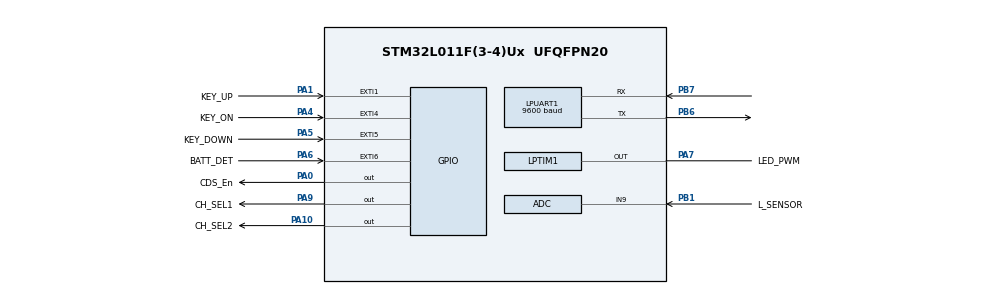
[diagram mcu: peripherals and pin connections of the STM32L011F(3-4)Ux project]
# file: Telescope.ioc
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ADC.ClockPrescaler=ADC_CLOCK_SYNC_PCLK_DIV4
ADC.ContinuousConvMode=DISABLE
ADC.DiscontinuousConvMode=ENABLE
ADC.LowPowerAutoPowerOff=DISABLE
ADC.LowPowerAutoWait=DISABLE
ADC.LowPowerFrequencyMode=DISABLE
ADC.Resolution=ADC_RESOLUTION_12B
ADC.SamplingTime=ADC_SAMPLETIME_160CYCLES_5
LPTIM1.ClockPrescaler=LPTIM_PRESCALER_DIV1
LPUART1.BaudRate=9600
LPUART1.DMADisableonRxErrorParam=UART_ADVFEATURE_DMA_ENABLEONRXERROR
LPUART1.OneBitSampling=UART_ONE_BIT_SAMPLE_ENABLE
LPUART1.OverrunDisableParam=UART_ADVFEATURE_OVERRUN_ENABLE
LPUART1.WordLength=UART_WORDLENGTH_8B
Mcu.Family=STM32L0
Mcu.Name=STM32L011F(3-4)Ux
Mcu.Package=UFQFPN20
NVIC.ADC1_COMP_IRQn=true\:0\:0\:false\:false\:true\:true\:true\:true
NVIC.EXTI0_1_IRQn=true\:3\:0\:true\:false\:true\:true\:true\:true
NVIC.EXTI4_15_IRQn=true\:3\:0\:true\:false\:true\:true\:true\:true
NVIC.LPUART1_IRQn=true\:2\:0\:true\:false\:true\:true\:true\:true
PA0-CK_IN.GPIO_Label=CDS_En
PA0-CK_IN.GPIO_PuPd=GPIO_NOPULL
PA0-CK_IN.Signal=GPIO_Output
PA1.GPIO_Label=KEY_UP
PA1.GPIO_ModeDefaultEXTI=GPIO_MODE_IT_FALLING
PA1.GPIO_PuPd=GPIO_PULLUP
PA1.Signal=GPXTI1
PA10.GPIO_Label=CH_SEL2
PA10.GPIO_ModeDefaultOutputPP=GPIO_MODE_OUTPUT_PP
PA10.GPIO_PuPd=GPIO_NOPULL
PA10.Signal=GPIO_Output
PA13.Mode=Serial_Wire
PA13.Signal=SYS_SWDIO
PA14.Mode=Serial_Wire
PA14.Signal=SYS_SWCLK
PA4.GPIO_Label=KEY_ON
PA4.GPIO_ModeDefaultEXTI=GPIO_MODE_IT_FALLING
PA4.GPIO_PuPd=GPIO_PULLUP
PA4.Signal=GPXTI4
PA5.GPIO_Label=KEY_DOWN
PA5.GPIO_ModeDefaultEXTI=GPIO_MODE_IT_FALLING
PA5.GPIO_PuPd=GPIO_PULLUP
PA5.Signal=GPXTI5
PA6.GPIO_Label=BATT_DET
PA6.GPIO_ModeDefaultEXTI=GPIO_MODE_IT_FALLING
PA6.GPIO_PuPd=GPIO_PULLUP
PA6.Signal=GPXTI6
PA7.GPIO_Label=LED_PWM
PA7.Mode=WaveformGeneration
PA7.Signal=LPTIM1_OUT
PA9.GPIO_Label=CH_SEL1
PA9.GPIO_ModeDefaultOutputPP=GPIO_MODE_OUTPUT_PP
PA9.GPIO_PuPd=GPIO_NOPULL
PA9.Signal=GPIO_Output
PB1.GPIO_Label=L_SENSOR
PB1.Mode=IN9
PB1.Signal=ADC_IN9
PB6.GPIO_PuPd=GPIO_PULLUP
PB6.Mode=Asynchronous
PB6.Signal=LPUART1_TX
PB7.GPIO_PuPd=GPIO_PULLUP
PB7.Mode=Asynchronous
PB7.Signal=LPUART1_RX
ProjectManager.HeapSize=0x200
ProjectManager.StackSize=0x400
ProjectManager.TargetToolchain=STM32CubeIDE
RCC.ADCFreq_Value=16000000
RCC.AHBFreq_Value=16000000
RCC.APB1Freq_Value=16000000
RCC.APB1TimFreq_Value=16000000
RCC.APB2Freq_Value=16000000
RCC.APB2TimFreq_Value=16000000
RCC.HCLKFreq_Value=16000000
RCC.HSE_VALUE=8000000
RCC.HSI16_VALUE=16000000
RCC.HSI_VALUE=16000000
RCC.LSE_VALUE=32768
RCC.LptimClockSelection=RCC_LPTIM1CLKSOURCE_LSI
RCC.Lpuart1ClockSelection=RCC_LPUART1CLKSOURCE_HSI
RCC.MSIClockRange=RCC_MSIRANGE_4
RCC.MSI_VALUE=1048000
RCC.PLLMUL=RCC_PLLMUL_4
RCC.SYSCLKFreq_VALUE=16000000
RCC.SYSCLKSource=RCC_SYSCLKSOURCE_HSI
RCC.VCOOutputFreq_Value=64000000
VP_LPTIM1_VS_LPTIM_counterModeInternalClock.Mode=Counts__internal_clock_event_00
board=custom

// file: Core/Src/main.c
/* USER CODE BEGIN Header */
/**
 ******************************************************************************
 * @file           : main.c
 * @brief          : Main program body
 ******************************************************************************
 * @attention
 *
 * Copyright (c) 2022 STMicroelectronics.
 * All rights reserved.
 *
 * This software is licensed under terms that can be found in the LICENSE file
 * in the root directory of this software component.
 * If no LICENSE file comes with this software, it is provided AS-IS.
 *
 ******************************************************************************
 */
/* USER CODE END Header */
#include "main.h"

/* USER CODE BEGIN Includes */
#include <string.h>
#include <stdbool.h>
#include "EEPROM.h"
#include "time.h"
#include "usart.h"
#include "errno.h"
#include "adc.h"
#include "usart.h"
/* USER CODE END Includes */

/* USER CODE BEGIN PD */
#define PERIOD 616
#define TWO_BUTTON

#define KEY_FUNC_DELAY	200
#define KEY_ADC_DELAY	KEY_FUNC_DELAY
//#define CalDuty( x )	( (PERIOD+1) - ( ( (PERIOD+1) * x ) * 0.01f) )
#define Default_LED	8
//#define LEVEL1	247
//#define LEVEL2	242
//#define LEVEL3	234
//#define LEVEL4	226
//#define LEVEL5	222
//#define LEVEL6	211
//#define LEVEL7	195
//#define LEVEL8	187
//#define LEVEL9	176
//#define LEVEL10	165
//#define LEVEL11	155
//#define LEVEL12	135
//
//#define PERIOD	616//617-1
//#define BOUNCE_CNT	10
//#define MAX_LEVEL			12
/* USER CODE END PD */

LPTIM_HandleTypeDef hlptim1;

/* USER CODE BEGIN PV */
uint16_t timeout;
volatile uint32_t last_time;
//volatile uint16_t error;

char CommandBuffer[64];
char IntBuffer[8];
char ByteBuffer[16];
//uint8_t flag_uart_on=0;

uint8_t flag_3_repeat = 0;
bool flag_led_on_off = 0;
bool flag_stop_mode = 1;
bool flag_change_mode = 0;
__IO uint8_t flag_led_mode = 1;
bool flag_power_on = 1;
bool flag_low_batt = 0;

bool LuxOut = 0;

uint8_t  key_pos = Default_LED;
uint8_t  temp_key_pos = 0;
bool  key_done = 1;
__IO uint16_t key_pressed = 0;
__IO uint16_t key_adc_pressed = 0;
__IO uint16_t count_1s = 0;
__IO uint16_t count_500ms = 0;

//uint8_t LuxMode = 0;
//uint8_t OnLux = 0;
bool SetLuxMode = 0;

//const char *ModelName = "CircleDot Rev 0.00";

/* USER CODE END PV */

void SystemClock_Config(void);
static void MX_GPIO_Init(void);
static void MX_LPTIM1_Init(void);
static void MX_LPUART1_UART_Init(void);
static void MX_ADC_Init(void);
/* USER CODE BEGIN PFP */
//unsigned char d=0; //ring buffer
//uint8_t lpuart1Idle = 0; //idle flag
//uint8_t txData; // byte to send
/* USER CODE END PFP */

/* USER CODE BEGIN 0 */
int ParsingData(char *buffer, char sep, int pos, char *result)
{
	int i, c;
	int n = 0;
	char found = 0;

	c = 0;
	for(i = 0; i < strlen(buffer); i++) {
		if(buffer[i] == sep) {
			if(pos == c++) {
				ByteBuffer[n] = 0;
				found = 1;
				break;
			}
			n = 0;
		}
		else ByteBuffer[n++] = buffer[i];
	}
	if(pos == c) found = 1;
	ByteBuffer[n] = 0;

	if(found) memcpy(result, ByteBuffer, n + 1);
	else {
		result[0] = 0;
		n = 0;
	}
	return(n);
}

int StringToInt(char *buffer)
{
	int ret = 0;
	int i, len, rt;

	for(i = 0; i < strlen(buffer); i++) {
		if(buffer[i] < '0' || buffer[i] > '9') break;
	}
	len = i;

	rt = 1;
	for(i = 0; i < len; i++) {
		ret += rt * (buffer[(len - 1) - i] - '0');
		rt *= 10;
	}
	return(ret);
}

char *IntToString(int data)
{
	int i, len, rt;

	memset(ByteBuffer, 0, sizeof(ByteBuffer));
	len = 0;
	rt = data;
	while(1) {
		len++;
		rt /= 10;
		if(rt <= 0) break;
	}

	rt = data;
	for(i = len - 1; i >= 0; i--) {
		rt = data % 10;
		ByteBuffer[i] = rt + '0';
		data /= 10;
	}

	return(ByteBuffer);
}

void Protocol(char *cmd)
{
	uint8_t i;

	ParsingData(cmd, ',', 0, CommandBuffer);
//	if(strcmp(CommandBuffer, "*IDN?") == 0) {
//		PrintUART(ModelName);
////		HAL_Delay(10);
//		PrintUART("\r\n");
//	}
//	else
		if(strcmp(CommandBuffer, ":READLEVEL") == 0) {
		PrintUART(":LEVEL");
		for(i = 0; i < MAX_LEVEL; i++) {
			IntToString(LedLight[i]);
			PrintUART(",");
			PrintUART(ByteBuffer);
			HAL_Delay(10);
		}

		PrintUART("\r\n");
	}
	else if(strcmp(CommandBuffer, ":READLUX") == 0) {
		PrintUART(":LUX");
		for(i = 0; i < MAX_LEVEL; i++) {
			IntToString(CDSLight[i]);
			PrintUART(",");
			PrintUART(ByteBuffer);
			HAL_Delay(10);
		}

		PrintUART("\r\n");
	}
	else if(strcmp(CommandBuffer, ":WRITELEVEL") == 0) {
		for(i = 0; i < MAX_LEVEL; i++) {
			ParsingData(cmd, ',', i + 1, CommandBuffer);
			LedLight[i] = StringToInt(CommandBuffer);
			//duty ratio transformation
		}

		WriteSystemConfig(LED_LIGHT);
		//SaveBuffer_EEPROM(DATA_EEPROM_START_ADDR + 0x40, (uint32_t *)&Settings, sizeof(Settings));
		HAL_Delay(100);
		PrintUART(":ACK,LEVEL\r\n");
		HAL_Delay(100);
	}
	else if(strcmp(CommandBuffer, ":WRITELUX") == 0) {
		for(i = 0; i < MAX_LEVEL; i++) {
			ParsingData(cmd, ',', i + 1, CommandBuffer);
			CDSLight[i] = StringToInt(CommandBuffer);
		}

		WriteSystemConfig(CDS_LIGHT);
		HAL_Delay(100);
		PrintUART(":ACK,LUX\r\n");
		HAL_Delay(100);
	}
	else if(strcmp(CommandBuffer, ":LUXON") == 0) {
//		SetLuxMode = 1;
		LuxOut = 1;
	}
	else if(strcmp(CommandBuffer, ":LUXOFF") == 0) {
//		SetLuxMode = 0;
		LuxOut = 0;
	}
}

void SleepMode(void)
{
	/* Set LED1 */
//	HAL_GPIO_WritePin(GPIOD, GPIO_PIN_12|GPIO_PIN_13|GPIO_PIN_14|GPIO_PIN_15, GPIO_PIN_RESET);
//	HAL_GPIO_WritePin(GPIOD, GPIO_PIN_12, GPIO_PIN_SET);

	/* Suspend SysTick */
	HAL_SuspendTick();

	/* Enable Power Peripheral */
	__HAL_RCC_PWR_CLK_ENABLE();

	/* Sleep Mode */
	HAL_PWR_EnterSLEEPMode(PWR_LOWPOWERREGULATOR_ON, PWR_STOPENTRY_WFE);//PWR_MAINREGULATOR_ON

	/* Resume SysTick When System Wake-up */
	HAL_ResumeTick();

	/* PLL Clock Recovery */
	SystemClock_Config();
}

void StopMode(void)
{
	/* Suspend Tick increment to prevent wakeup by Systick interrupt.
     Otherwise the Systick interrupt will wake up the device within 1ms (HAL time base) */
	HAL_SuspendTick();

	/* We enable again the PWR peripheral */
	__HAL_RCC_PWR_CLK_ENABLE();

	/* Request to enter SLEEP mode */
	HAL_PWR_EnterSTOPMode(PWR_LOWPOWERREGULATOR_ON, PWR_STOPENTRY_WFE);

	//  SystemClock_Config_low();

	/* Resume Tick interrupt if disabled prior to sleep mode entry*/
	HAL_ResumeTick();

	/* PLL Clock Recovery */
	SystemClock_Config();
}

void HAL_GPIO_EXTI_Callback(uint16_t GPIO_Pin)
{
	key_done = 0;
	if(GPIO_Pin == KEY_UP_Pin)
	{
		//POWER ON
		if( (!flag_power_on) && (!flag_stop_mode) )
		{
			key_pos = Default_LED;
//			flag_stop_mode = 1;
		}
		//Brightness up
		else
		{
			key_pos++;
//			flag_stop_mode = 0;
		}
	}
#ifndef TWO_BUTTON
	else if(GPIO_Pin == KEY_ON_Pin)
	{
		//POWER ON
		if( (!flag_power_on) && (!flag_stop_mode) )
		{
			key_pos = Default_LED;
//			flag_stop_mode = 1;
		}
		else
		{
			flag_change_mode = 1;
		}
//		{
//			//MODE change dot, circle, cross
//			flag_led_mode++;
//			if(flag_led_mode > 3) flag_led_mode = 1;
//
//			flag_stop_mode = 0;
//		}
	}
#endif
	else if(GPIO_Pin == KEY_DOWN_Pin)
	{
		//POWER ON
		if( (!flag_power_on) && (!flag_stop_mode) )
		{
			key_pos = Default_LED;
//			flag_stop_mode = 1;
		}
		//Brightness down
		else
		{
			key_pos--;
//			flag_stop_mode = 0;
		}
	}
//	flag_stop_mode = 1;
	//POWER off
	if(!flag_power_on)
	{
		if(!HAL_GPIO_ReadPin(BATT_DET_GPIO_Port, BATT_DET_Pin))
		{
			flag_low_batt = 1;
			flag_stop_mode = 0;
		}
	}
	//	else if(GPIO_Pin == BATT_DET_Pin)
	//	{
	//		flag_low_batt = 1;
	//	}

	if (key_pos < 1) key_pos = 1;
	else if( key_pos == 255) key_pos = 1;
	else if (key_pos > 12) key_pos = 12;

	flag_power_on = 1;
}

/* USER CODE END 0 */

int main(void)
{
  /* USER CODE BEGIN 1 */
	int i = 0;
	uint8_t level;
	uint16_t cds = 0;

  /* USER CODE END 1 */

  /* MCU Configuration--------------------------------------------------------*/

  /* Reset of all peripherals, Initializes the Flash interface and the Systick. */
  HAL_Init();

  /* USER CODE BEGIN Init */
  MX_LPTIM1_Init();
	/* Init Timer */
  time_setup();
  /* USER CODE END Init */

  /* Configure the system clock */
  SystemClock_Config();

  /* Initialize all configured peripherals */
  MX_GPIO_Init();
  MX_LPUART1_UART_Init();
  MX_ADC_Init();
  /* USER CODE BEGIN 2 */

  ReadSystemConfig();

//  TEST CODE
//  ReadBuffer_EEPROM(DATA_EEPROM_START_ADDR + 0x40, (uint32_t *)&Settings.brightness_dot, sizeof(Settings.brightness_dot));
  //  LedLight[0] = 308;
  //  LedLight[1] = 290;
  //  LedLight[2] = 271;
  //  LedLight[3] = 253;
  //  LedLight[4] = 241;
  //  LedLight[5] = 216;
  //  LedLight[6] = 197;
  //  LedLight[7] = 148;
  //  LedLight[8] = 136;
  //  LedLight[9] = 123;
  //  LedLight[10] = 111;
  //  LedLight[11] = 99;
//  WriteSystemConfig(LED_LIGHT);

  //EEPROM?�� ?��?��?���? ?��?���? ?��?��?�� 값으�? 처기?�� ?��?��
  for(i = 0; i < 12; i++)
  {
	  if( ( LedLight[i] == 0x0 ) || ( LedLight[i] == 0xFFFFFFFF ) )
	  {
		  LedLight[i] = 123;
	  }

	  if( ( CDSLight[i] == 0x0 ) || ( CDSLight[i] == 0xFFFFFFFF ) )
	  {
		  CDSLight[i] = 800;
	  }
  }
  /* USER CODE END 2 */

  /* Infinite loop */
  /* USER CODE BEGIN WHILE */
	while (1)
	{
		// 조도모드 ?�� ?�� ?��?��처리�? �??��?��, ?��?��받�? ?��로토콜을 처리
		if(isReadyByte() && SetLuxMode)
		{
			Protocol((char *)GetUART());
		}

		// key up / down ?���? 조도 모드�? 진입�??��, 조도?�� ?��?�� 밝기 �??��
		if(SetLuxMode)
		{
			level = MAX_LEVEL;
			cds = GetADC(0);
			if(CDSLight[0] >= cds) level = 0;
			else {
				for(i = 1; i < MAX_LEVEL; i++) {
					if(CDSLight[i - 1] < cds && CDSLight[i] >= cds) {
						level = i;
						break;
					}
				}
			}

			if(level == MAX_LEVEL) level = MAX_LEVEL - 1;

			LedLevel = level;
//			WriteSystemConfig(LED_LEVEL);

			HAL_LPTIM_PWM_Start(&hlptim1, PERIOD, LedLight[LedLevel]);
			//
			switch(flag_led_mode)
			{
			case 1 :
				HAL_GPIO_WritePin(CH_SEL1_GPIO_Port, CH_SEL1_Pin, RESET);
				HAL_GPIO_WritePin(CH_SEL2_GPIO_Port, CH_SEL2_Pin, RESET);
				break;
			case 2 :
				HAL_GPIO_WritePin(CH_SEL1_GPIO_Port, CH_SEL1_Pin, RESET);
				HAL_GPIO_WritePin(CH_SEL2_GPIO_Port, CH_SEL2_Pin, SET);
				break;
			case 3 :
				HAL_GPIO_WritePin(CH_SEL1_GPIO_Port, CH_SEL1_Pin, SET);
				HAL_GPIO_WritePin(CH_SEL2_GPIO_Port, CH_SEL2_Pin, SET);
				break;
			default : break;
			}

			flag_stop_mode = 0;
		}

		// ???��?�� 모드
		if(flag_power_on)
		{
			if(flag_stop_mode)
			{
				HAL_LPTIM_PWM_Start(&hlptim1, PERIOD, LedLight[key_pos-1]);

				flag_stop_mode = 0;

				StopMode();
			}
		}
    /* USER CODE END WHILE */

    /* USER CODE BEGIN 3 */
		/* Every 10ms */
		if ( (time_ms() - last_time) > 10-1 ) //10mS
		{
			//조도 모드?�� ?�� 250mS 마다 조도 값을 ?��?��
			if(count_500ms > 25) //100mS
			{
				if(LuxOut) {
					PrintUART(":CDS,");
					IntToString(cds);
					PrintUART(ByteBuffer);
					PrintUART("\r\n");
					//				LuxOut = 0;
				}
				count_500ms = 0;
			}

			//배터리�? ?��?�� ?�� 1�? 주기�? LED�? 3�? ?��멸한?��
			if( (flag_power_on) && (flag_low_batt) && (count_1s > 100-1) )
			{
				if(flag_3_repeat > 5)
				{
					flag_3_repeat = 0;
					flag_led_on_off = 0;

					flag_low_batt = 0;
					count_1s = 0;

					goto sub_led_proc;
				}
				else
				{

					flag_3_repeat++;
					flag_led_on_off ^= 0x01;

					if(flag_led_on_off)
						HAL_LPTIM_PWM_Start(&hlptim1, PERIOD, LedLight[key_pos-1]);
					else
						HAL_LPTIM_PWM_Stop(&hlptim1);

					HAL_GPIO_WritePin(CH_SEL1_GPIO_Port, CH_SEL1_Pin, flag_led_on_off);
					HAL_GPIO_WritePin(CH_SEL2_GPIO_Port, CH_SEL2_Pin, flag_led_on_off);
				}

				count_1s = 0;
			}
			else
			{
				// +/-?���? ?��?��?�� ?���? ?��?��졌는�? ?��?��
				if( (flag_power_on) && (!flag_low_batt) && ( !HAL_GPIO_ReadPin(KEY_UP_GPIO_Port, KEY_UP_Pin) && !HAL_GPIO_ReadPin(KEY_DOWN_GPIO_Port, KEY_DOWN_Pin) ) && !key_done )
				{
					key_adc_pressed++;
				}
				// Any?���? ?��?��졌는�? ?��?��
				else if( (flag_power_on) && (!flag_low_batt) && !( HAL_GPIO_ReadPin(KEY_UP_GPIO_Port, KEY_UP_Pin) && HAL_GPIO_ReadPin(KEY_DOWN_GPIO_Port, KEY_DOWN_Pin) && HAL_GPIO_ReadPin(KEY_ON_GPIO_Port, KEY_ON_Pin) ) && !key_done )
				{
					key_pressed++;
				}
#ifdef TWO_BUTTON
				// +/- ?���? ?��?��?�� 짧게 ?��?��졌으�??
				else if((key_adc_pressed > 10) && (key_adc_pressed < 100))
				{
					//MODE change dot, circle, cross
					if(flag_change_mode)
					{
						flag_led_mode++;
						if(flag_led_mode > 3) flag_led_mode = 1;
					}

					//POWER ON
					if( (flag_power_on) && (!flag_stop_mode) && (!flag_change_mode) )
					{
						key_pos = Default_LED;
						flag_change_mode = 1;
						flag_stop_mode = 1;
					}

					if(flag_change_mode)
					{
						//					flag_change_mode = 0;
						sub_led_proc:
						switch(flag_led_mode)
						{
						case 1 :
							HAL_GPIO_WritePin(CH_SEL1_GPIO_Port, CH_SEL1_Pin, RESET);
							HAL_GPIO_WritePin(CH_SEL2_GPIO_Port, CH_SEL2_Pin, RESET);
							break;
						case 2 :
							HAL_GPIO_WritePin(CH_SEL1_GPIO_Port, CH_SEL1_Pin, RESET);
							HAL_GPIO_WritePin(CH_SEL2_GPIO_Port, CH_SEL2_Pin, SET);
							break;
						case 3 :
							HAL_GPIO_WritePin(CH_SEL1_GPIO_Port, CH_SEL1_Pin, SET);
							HAL_GPIO_WritePin(CH_SEL2_GPIO_Port, CH_SEL2_Pin, SET);
							break;
						default : break;
						}
					}
					key_adc_pressed =0;
				}
#endif
				// Any?���? 짧게 ?��?��졌으�?
				else if((key_pressed > 10) && (key_pressed < 100))
				{

#ifndef TWO_BUTTON
					sub_led_proc:

					if(flag_change_mode)
					{
						//MODE change dot, circle, cross
						flag_led_mode++;
						if(flag_led_mode > 3) flag_led_mode = 1;
						flag_change_mode = 0;

						switch(flag_led_mode)
						{
						case 1 :
							HAL_GPIO_WritePin(CH_SEL1_GPIO_Port, CH_SEL1_Pin, RESET);
							HAL_GPIO_WritePin(CH_SEL2_GPIO_Port, CH_SEL2_Pin, RESET);
							break;
						case 2 :
							HAL_GPIO_WritePin(CH_SEL1_GPIO_Port, CH_SEL1_Pin, RESET);
							HAL_GPIO_WritePin(CH_SEL2_GPIO_Port, CH_SEL2_Pin, SET);
							break;
						case 3 :
							HAL_GPIO_WritePin(CH_SEL1_GPIO_Port, CH_SEL1_Pin, SET);
							HAL_GPIO_WritePin(CH_SEL2_GPIO_Port, CH_SEL2_Pin, SET);
							break;
						default : break;
						}
					}
#endif

					if(SetLuxMode)	flag_stop_mode = 0;
					else			flag_stop_mode = 1;

					key_pressed = 0;

				}

				if( key_adc_pressed < 0 ) key_adc_pressed = 0;
				else if( key_adc_pressed > (KEY_ADC_DELAY-1) )
				{
					//flag_power_on = 0;
					key_done = 1;
					key_adc_pressed = 0;

					SetLuxMode ^= 0x1;

//					SleepMode();

					if(SetLuxMode)
					{
						HAL_GPIO_WritePin(CDS_En_GPIO_Port, CDS_En_Pin, SET);
						temp_key_pos = key_pos;
//						PrintUART(ModelName);
					}
					else
					{
						//ReadSystemConfig();
						HAL_GPIO_WritePin(CDS_En_GPIO_Port, CDS_En_Pin, RESET);
						key_pos = temp_key_pos;
						flag_stop_mode = 1;
					}
					//key_pos = 0;

					last_time = time_ms();
				}

				if( key_pressed < 0 ) key_pressed = 0;
				else if( key_pressed > (KEY_FUNC_DELAY-1) )
				{
					key_done = 1;
					HAL_LPTIM_PWM_Stop(&hlptim1);
//					HAL_GPIO_WritePin(CH_SEL1_GPIO_Port, CH_SEL1_Pin, RESET);
//					HAL_GPIO_WritePin(CH_SEL2_GPIO_Port, CH_SEL2_Pin, RESET);
					flag_change_mode = 0;
					flag_power_on = 0;
					key_pressed = 0;
					key_pos = 0;
					last_time = time_ms();

					StopMode();
				}
			}

			if(flag_low_batt)	count_1s++;
			if(SetLuxMode)	count_500ms++;

			last_time = time_ms();
		}
	}
  /* USER CODE END 3 */
}

void SystemClock_Config(void)
{
  LL_FLASH_SetLatency(LL_FLASH_LATENCY_0);
  while(LL_FLASH_GetLatency()!= LL_FLASH_LATENCY_0)
  {
  }
  LL_PWR_SetRegulVoltageScaling(LL_PWR_REGU_VOLTAGE_SCALE1);
  LL_RCC_HSI_Enable();

   /* Wait till HSI is ready */
  while(LL_RCC_HSI_IsReady() != 1)
  {

  }
  LL_RCC_HSI_SetCalibTrimming(16);
  LL_RCC_LSI_Enable();

   /* Wait till LSI is ready */
  while(LL_RCC_LSI_IsReady() != 1)
  {

  }
  LL_RCC_SetAHBPrescaler(LL_RCC_SYSCLK_DIV_1);
  LL_RCC_SetAPB1Prescaler(LL_RCC_APB1_DIV_1);
  LL_RCC_SetAPB2Prescaler(LL_RCC_APB2_DIV_1);
  LL_RCC_SetSysClkSource(LL_RCC_SYS_CLKSOURCE_HSI);

   /* Wait till System clock is ready */
  while(LL_RCC_GetSysClkSource() != LL_RCC_SYS_CLKSOURCE_STATUS_HSI)
  {

  }
  LL_SetSystemCoreClock(16000000);

   /* Update the time base */
  if (HAL_InitTick (TICK_INT_PRIORITY) != HAL_OK)
  {
    Error_Handler();
  }
  LL_RCC_SetLPUARTClockSource(LL_RCC_LPUART1_CLKSOURCE_HSI);
  LL_RCC_SetLPTIMClockSource(LL_RCC_LPTIM1_CLKSOURCE_LSI);
}

static void MX_ADC_Init(void)
{

  LL_ADC_REG_InitTypeDef ADC_REG_InitStruct = {0};
  LL_ADC_InitTypeDef ADC_InitStruct = {0};

  LL_GPIO_InitTypeDef GPIO_InitStruct = {0};

  /* Peripheral clock enable */
  LL_APB2_GRP1_EnableClock(LL_APB2_GRP1_PERIPH_ADC1);

  LL_IOP_GRP1_EnableClock(LL_IOP_GRP1_PERIPH_GPIOB);
  /**ADC GPIO Configuration
  PB1   ------> ADC_IN9
  */
  GPIO_InitStruct.Pin = LL_GPIO_PIN_1;
  GPIO_InitStruct.Mode = LL_GPIO_MODE_ANALOG;
  GPIO_InitStruct.Pull = LL_GPIO_PULL_NO;
  LL_GPIO_Init(GPIOB, &GPIO_InitStruct);

  /* ADC interrupt Init */
  NVIC_SetPriority(ADC1_COMP_IRQn, 0);
  NVIC_EnableIRQ(ADC1_COMP_IRQn);

  /** Configure Regular Channel
  */
  LL_ADC_REG_SetSequencerChAdd(ADC1, LL_ADC_CHANNEL_9);

  /** Common config
  */
  ADC_REG_InitStruct.TriggerSource = LL_ADC_REG_TRIG_SOFTWARE;
  ADC_REG_InitStruct.SequencerDiscont = LL_ADC_REG_SEQ_DISCONT_1RANK;
  ADC_REG_InitStruct.ContinuousMode = LL_ADC_REG_CONV_SINGLE;
  ADC_REG_InitStruct.DMATransfer = LL_ADC_REG_DMA_TRANSFER_NONE;
  ADC_REG_InitStruct.Overrun = LL_ADC_REG_OVR_DATA_PRESERVED;
  LL_ADC_REG_Init(ADC1, &ADC_REG_InitStruct);
  LL_ADC_SetSamplingTimeCommonChannels(ADC1, LL_ADC_SAMPLINGTIME_160CYCLES_5);
  LL_ADC_SetOverSamplingScope(ADC1, LL_ADC_OVS_DISABLE);
  LL_ADC_REG_SetSequencerScanDirection(ADC1, LL_ADC_REG_SEQ_SCAN_DIR_FORWARD);
  LL_ADC_SetCommonFrequencyMode(__LL_ADC_COMMON_INSTANCE(ADC1), LL_ADC_CLOCK_FREQ_MODE_HIGH);
  LL_ADC_DisableIT_EOC(ADC1);
  LL_ADC_DisableIT_EOS(ADC1);
  ADC_InitStruct.Clock = LL_ADC_CLOCK_SYNC_PCLK_DIV4;
  ADC_InitStruct.Resolution = LL_ADC_RESOLUTION_12B;
  ADC_InitStruct.DataAlignment = LL_ADC_DATA_ALIGN_RIGHT;
  ADC_InitStruct.LowPowerMode = LL_ADC_LP_MODE_NONE;
  LL_ADC_Init(ADC1, &ADC_InitStruct);

  /* Enable ADC internal voltage regulator */
  LL_ADC_EnableInternalRegulator(ADC1);
  /* Delay for ADC internal voltage regulator stabilization. */
  /* Compute number of CPU cycles to wait for, from delay in us. */
  /* Note: Variable divided by 2 to compensate partially */
  /* CPU processing cycles (depends on compilation optimization). */
  /* Note: If system core clock frequency is below 200kHz, wait time */
  /* is only a few CPU processing cycles. */
  uint32_t wait_loop_index;
  wait_loop_index = ((LL_ADC_DELAY_INTERNAL_REGUL_STAB_US * (SystemCoreClock / (100000 * 2))) / 10);
  while(wait_loop_index != 0)
  {
    wait_loop_index--;
  }
  /* USER CODE BEGIN ADC_Init 2 */
  LL_ADC_Enable(ADC1);
  LL_ADC_StartCalibration(ADC1);            //
  while(LL_ADC_IsCalibrationOnGoing(ADC1)); //
  /* USER CODE END ADC_Init 2 */

}

static void MX_LPTIM1_Init(void)
{

  hlptim1.Instance = LPTIM1;
  hlptim1.Init.Clock.Source = LPTIM_CLOCKSOURCE_APBCLOCK_LPOSC;
  hlptim1.Init.Clock.Prescaler = LPTIM_PRESCALER_DIV1;
  hlptim1.Init.Trigger.Source = LPTIM_TRIGSOURCE_SOFTWARE;
  hlptim1.Init.OutputPolarity = LPTIM_OUTPUTPOLARITY_HIGH;
  hlptim1.Init.UpdateMode = LPTIM_UPDATE_IMMEDIATE;
  hlptim1.Init.CounterSource = LPTIM_COUNTERSOURCE_INTERNAL;
  if (HAL_LPTIM_Init(&hlptim1) != HAL_OK)
  {
    Error_Handler();
  }

}

static void MX_LPUART1_UART_Init(void)
{

  LL_LPUART_InitTypeDef LPUART_InitStruct = {0};

  LL_GPIO_InitTypeDef GPIO_InitStruct = {0};

  /* Peripheral clock enable */
  LL_APB1_GRP1_EnableClock(LL_APB1_GRP1_PERIPH_LPUART1);

  LL_IOP_GRP1_EnableClock(LL_IOP_GRP1_PERIPH_GPIOB);
  /**LPUART1 GPIO Configuration
  PB6   ------> LPUART1_TX
  PB7   ------> LPUART1_RX
  */
  GPIO_InitStruct.Pin = LL_GPIO_PIN_6;
  GPIO_InitStruct.Mode = LL_GPIO_MODE_ALTERNATE;
  GPIO_InitStruct.Speed = LL_GPIO_SPEED_FREQ_VERY_HIGH;
  GPIO_InitStruct.OutputType = LL_GPIO_OUTPUT_PUSHPULL;
  GPIO_InitStruct.Pull = LL_GPIO_PULL_UP;
  GPIO_InitStruct.Alternate = LL_GPIO_AF_6;
  LL_GPIO_Init(GPIOB, &GPIO_InitStruct);

  GPIO_InitStruct.Pin = LL_GPIO_PIN_7;
  GPIO_InitStruct.Mode = LL_GPIO_MODE_ALTERNATE;
  GPIO_InitStruct.Speed = LL_GPIO_SPEED_FREQ_VERY_HIGH;
  GPIO_InitStruct.OutputType = LL_GPIO_OUTPUT_PUSHPULL;
  GPIO_InitStruct.Pull = LL_GPIO_PULL_UP;
  GPIO_InitStruct.Alternate = LL_GPIO_AF_6;
  LL_GPIO_Init(GPIOB, &GPIO_InitStruct);

  /* LPUART1 interrupt Init */
  NVIC_SetPriority(LPUART1_IRQn, 2);
  NVIC_EnableIRQ(LPUART1_IRQn);

  LPUART_InitStruct.BaudRate = 9600;
  LPUART_InitStruct.DataWidth = LL_LPUART_DATAWIDTH_8B;
  LPUART_InitStruct.StopBits = LL_LPUART_STOPBITS_1;
  LPUART_InitStruct.Parity = LL_LPUART_PARITY_NONE;
  LPUART_InitStruct.TransferDirection = LL_LPUART_DIRECTION_TX_RX;
  LPUART_InitStruct.HardwareFlowControl = LL_LPUART_HWCONTROL_NONE;
  LL_LPUART_Init(LPUART1, &LPUART_InitStruct);
  /* USER CODE BEGIN LPUART1_Init 2 */
	LL_LPUART_Enable(LPUART1);
	LL_LPUART_EnableIT_RXNE(LPUART1);
//	LL_LPUART_EnableIT_TXE(LPUART1);
//	LL_LPUART_ClearFlag_TC(LPUART1);
//	LL_LPUART_EnableIT_TC(LPUART1);
//	LL_LPUART_EnableIT_IDLE(LPUART1);
	LL_LPUART_EnableDirectionTx(LPUART1);
	LL_LPUART_EnableDirectionRx(LPUART1);
	/* Polling LPUART1 initialisation */
	while((!(LL_LPUART_IsActiveFlag_TEACK(LPUART1))) || (!(LL_LPUART_IsActiveFlag_REACK(LPUART1))))
	{
	}
  /* USER CODE END LPUART1_Init 2 */

}

static void MX_GPIO_Init(void)
{
  GPIO_InitTypeDef GPIO_InitStruct = {0};

  /* GPIO Ports Clock Enable */
  __HAL_RCC_GPIOA_CLK_ENABLE();
  __HAL_RCC_GPIOB_CLK_ENABLE();

  /*Configure GPIO pin Output Level */
  HAL_GPIO_WritePin(GPIOA, CDS_En_Pin|CH_SEL1_Pin|CH_SEL2_Pin, GPIO_PIN_RESET);

  /*Configure GPIO pins : CDS_En_Pin CH_SEL1_Pin CH_SEL2_Pin */
  GPIO_InitStruct.Pin = CDS_En_Pin|CH_SEL1_Pin|CH_SEL2_Pin;
  GPIO_InitStruct.Mode = GPIO_MODE_OUTPUT_PP;
  GPIO_InitStruct.Pull = GPIO_NOPULL;
  GPIO_InitStruct.Speed = GPIO_SPEED_FREQ_LOW;
  HAL_GPIO_Init(GPIOA, &GPIO_InitStruct);

  /*Configure GPIO pins : KEY_UP_Pin KEY_ON_Pin KEY_DOWN_Pin BATT_DET_Pin */
  GPIO_InitStruct.Pin = KEY_UP_Pin|KEY_ON_Pin|KEY_DOWN_Pin|BATT_DET_Pin;
  GPIO_InitStruct.Mode = GPIO_MODE_IT_FALLING;
  GPIO_InitStruct.Pull = GPIO_PULLUP;
  HAL_GPIO_Init(GPIOA, &GPIO_InitStruct);

  /* EXTI interrupt init*/
  HAL_NVIC_SetPriority(EXTI0_1_IRQn, 3, 0);
  HAL_NVIC_EnableIRQ(EXTI0_1_IRQn);

  HAL_NVIC_SetPriority(EXTI4_15_IRQn, 3, 0);
  HAL_NVIC_EnableIRQ(EXTI4_15_IRQn);

}

void Error_Handler(void)
{
  __disable_irq();
  while (1)
  {
  }
}
